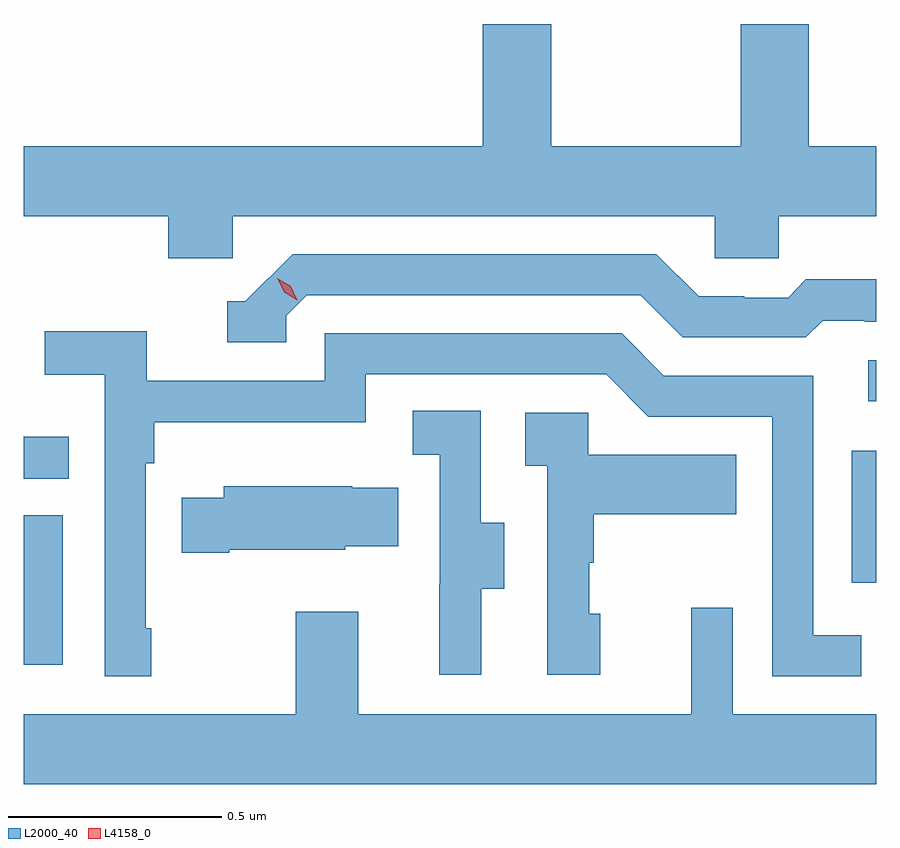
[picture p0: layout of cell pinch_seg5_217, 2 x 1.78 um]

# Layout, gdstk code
import gdstk
lib = gdstk.Library(unit=1e-6, precision=1e-09)
def R(c, l, rs):  # rectangles x0, y0, x1, y1
    for r in rs: c.add(gdstk.rectangle(r[:2], r[2:], *l))
def P(c, l, *ps):  # polygons
    for p in ps: c.add(gdstk.Polygon(p, *l))
L2000_40 = (2000, 40)
L4158_0 = (4158, 0)

pinch_seg5_217 = lib.new_cell('pinch_seg5_217')
R(pinch_seg5_217, L2000_40, [(953.732,912.984,953.824,913.335), (955.674,913.176,955.732,913.486), (955.713,913.602,955.732,913.698)])
P(pinch_seg5_217, L2000_40, [(953.732,914.036),(954.071,914.036),(954.071,913.938),(954.222,913.938),(954.222,914.036),(955.353,914.036),(955.353,913.938),(955.503,913.938),(955.503,914.036),(955.732,914.036),(955.732,914.2),(955.574,914.2),(955.574,914.487),(955.414,914.487),(955.414,914.2),(954.969,914.2),(954.969,914.487),(954.809,914.487),(954.809,914.2),(953.732,914.2)],
  [(954.348,913.803),(954.396,913.851),(955.179,913.851),(955.278,913.752),(955.567,913.752),(955.606,913.791),(955.705,913.791),(955.705,913.788),(955.732,913.788),(955.732,913.888),(955.567,913.888),(955.525,913.845),(955.422,913.845),(955.422,913.848),(955.315,913.848),(955.216,913.947),(954.363,913.947),(954.252,913.836),(954.209,913.836),(954.209,913.74),(954.348,913.74)],
  [(954.031,913.069),(954.018,913.069),(954.018,913.457),(954.038,913.457),(954.038,913.553),(954.534,913.553),(954.534,913.665),(955.098,913.665),(955.197,913.566),(955.488,913.566),(955.488,912.957),(955.697,912.957),(955.697,913.053),(955.584,913.053),(955.584,913.662),(955.234,913.662),(955.135,913.761),(954.438,913.761),(954.438,913.65),(954.02,913.65),(954.02,913.766),(953.781,913.766),(953.781,913.664),(953.922,913.664),(953.922,912.957),(954.031,912.957)],
  [(954.805,913.162),(954.859,913.162),(954.859,913.317),(954.804,913.317),(954.804,913.58),(954.645,913.58),(954.645,913.477),(954.708,913.477),(954.708,913.173),(954.707,913.173),(954.707,912.96),(954.805,912.96)],
  [(955.084,913.104),(955.059,913.104),(955.059,913.223),(955.069,913.223),(955.069,913.337),(955.403,913.337),(955.403,913.477),(955.056,913.477),(955.056,913.575),(954.909,913.575),(954.909,913.451),(954.96,913.451),(954.96,912.96),(955.084,912.96)],
  [(953.837,913.519),(953.733,913.519),(953.732,913.52),(953.732,913.42),(953.837,913.42)],
  [(954.214,913.253),(954.486,913.253),(954.486,913.262),(954.611,913.262),(954.611,913.399),(954.503,913.399),(954.503,913.402),(954.201,913.402),(954.201,913.375),(954.103,913.375),(954.103,913.246),(954.214,913.246)],
  [(955.732,912.868),(955.395,912.868),(955.395,913.117),(955.298,913.117),(955.298,912.868),(954.517,912.868),(954.517,913.108),(954.37,913.108),(954.37,912.868),(953.732,912.868),(953.732,912.704),(955.732,912.704)])
P(pinch_seg5_217, L4158_0, [(954.374,913.839),(954.343,913.858),(954.327,913.891),(954.327,913.891),(954.327,913.891),(954.358,913.872),(954.374,913.839),(954.374,913.839)])

lib.write_gds('pinch_seg5_217.gds')
